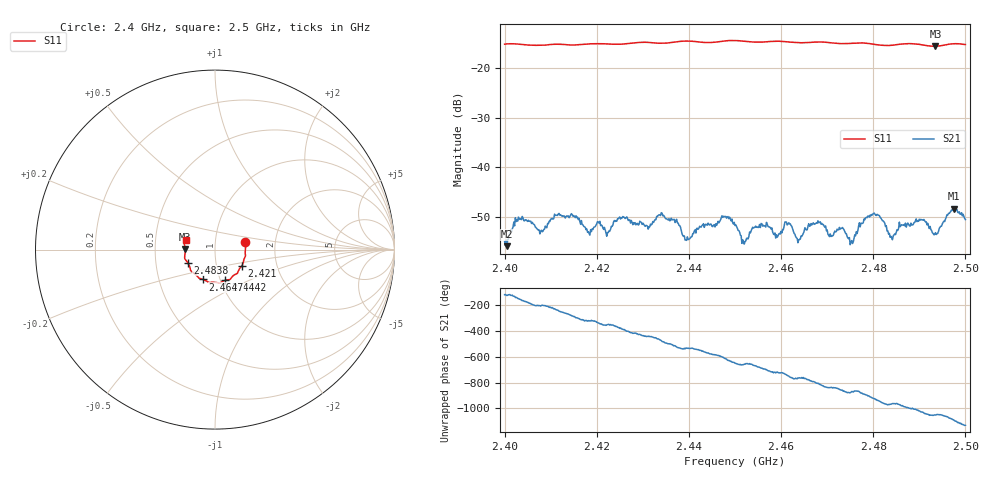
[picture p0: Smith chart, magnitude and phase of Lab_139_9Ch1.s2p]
# Hz S RI R 50
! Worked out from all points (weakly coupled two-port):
!   601 points, 2.4 GHz to 2.5 GHz, reference 50 ohm
!   highest |S21| = -48.36 dB at 2.4975 GHz (marker M1); lowest = -55.9 dB at 2.4005 GHz (marker M2)
!   lowest |S11| = -15.6 dB at 2.4935 GHz (marker M3), VSWR 1.40, Z = 35.8 + j0.199 ohm
!   |S11| at or under -10 dB: start of sweep to end of sweep
!   S12 and S22 are empty: the file has one direction only
!   S11 on the Smith chart (normalised r, x): 2.4 GHz: 1.40, +0.12; 2.421 GHz: 1.33, -0.24; 2.4442 GHz: 1.05, -0.37; 2.4647 GHz: 0.83, -0.29; 2.4838 GHz: 0.73, -0.11; 2.5 GHz: 0.71, +0.08
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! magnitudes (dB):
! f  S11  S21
! 2.4 GHz  -15.2  -55.0
! 2.4005 GHz  -15.2  -55.9
! 2.4035 GHz  -15.3  -50.4
! 2.4078 GHz  -15.5  -52.9
! 2.4167 GHz  -15.3  -50.8
! 2.421 GHz  -15.1  -51.7
! 2.4333 GHz  -15.0  -49.7
! 2.4397 GHz  -14.6  -54.0
! 2.4442 GHz  -14.9  -51.3
! 2.45 GHz  -14.5  -51.8
! 2.452 GHz  -14.6  -55.5
! 2.4558 GHz  -14.8  -51.4
! 2.4647 GHz  -14.9  -53.7
! 2.4667 GHz  -14.8  -51.7
! 2.4753 GHz  -15.0  -54.8
! 2.4805 GHz  -15.3  -49.7
! 2.4833 GHz  -15.5  -53.5
! 2.4838 GHz  -15.4  -53.9
! 2.4905 GHz  -15.3  -50.6
! 2.4935 GHz  -15.6  -53.2
! 2.4975 GHz  -15.1  -48.4
! 2.5 GHz  -15.3  -50.6
